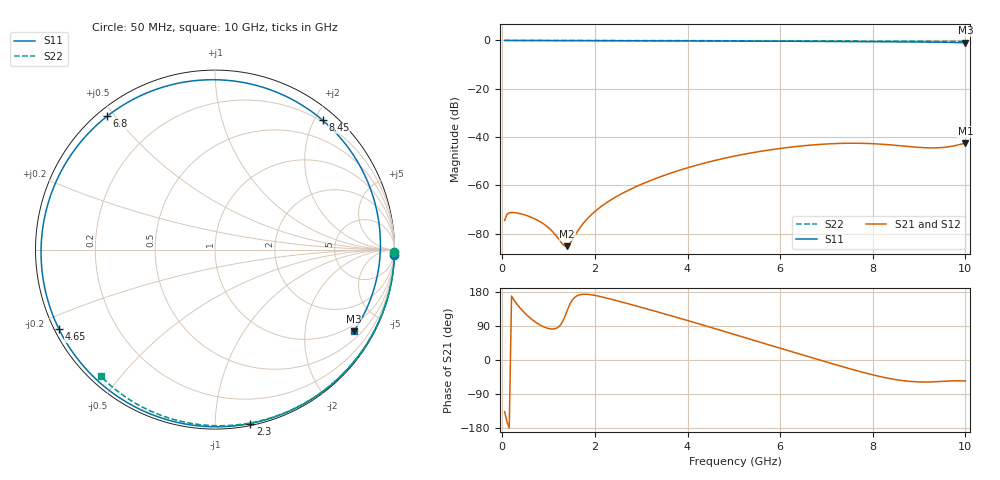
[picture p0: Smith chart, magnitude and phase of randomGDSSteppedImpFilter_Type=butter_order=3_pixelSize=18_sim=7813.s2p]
! freq	dB(S11)	phase(S11)	dB(S12)	phase(S12)
!  dB(S21)	phase(S21)	dB(S22)	phase(S22)
!S-par simulation data
#  GHz  S  DB  R 50
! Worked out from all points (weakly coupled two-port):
!   200 points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, 50 MHz to 10 GHz, reference 50 ohm
!   highest |S21| = -42.51 dB at 10 GHz (marker M1); lowest = -85.2 dB at 1.4 GHz (marker M2)
!   lowest |S11| = -0.9 dB at 10 GHz (marker M3), VSWR 18.38, Z = 37.8 - j176 ohm
!   |S11| at or under -10 dB: nowhere
!   |S22| runs from -0.4 to 0.0 dB; largest |S21 - S12| = 0
!   S11 on the Smith chart (normalised r, x): 50 MHz: 0, -65; 2.3 GHz: 0.01, -1.22; 4.65 GHz: 0.01, -0.24; 6.8 GHz: 0.03, +0.48; 8.45 GHz: 0.18, +2.12; 10 GHz: 0.76, -3.52
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0.05  -0.00 -1.8  -74.54 -136.5  -74.54 -136.5  -0.00 -0.8
0.15  -0.00 -5.3  -71.39 -179.1  -71.39 -179.1  -0.00 -2.3
0.35  -0.01 -12.4  -71.54 142.3  -71.54 142.3  -0.01 -5.3
0.8  -0.03 -28.1  -74.86 93.5  -74.86 93.5  -0.01 -12.1
1.15  -0.05 -40.1  -80.55 82.9  -80.55 82.9  -0.02 -17.4
1.4  -0.06 -48.6  -85.18 130.0  -85.18 130.0  -0.03 -21.1
1.6  -0.07 -55.4  -79.74 168.5  -79.74 168.5  -0.03 -24.1
1.75  -0.08 -60.4  -75.70 173.4  -75.70 173.4  -0.03 -26.3
2.3  -0.10 -78.5  -66.56 162.0  -66.56 162.0  -0.04 -34.3
3.4  -0.14 -113.6  -56.54 125.3  -56.54 125.3  -0.07 -50.0
4.65  -0.21 -153.1  -49.42 80.7  -49.42 80.7  -0.10 -67.1
5.05  -0.24 -166.2  -47.74 66.0  -47.74 66.0  -0.11 -72.4
5.9  -0.31 164.3  -44.97 34.7  -44.97 34.7  -0.14 -83.4
6.7  -0.38 133.2  -43.27 5.5  -43.27 5.5  -0.18 -93.4
6.8  -0.39 129.0  -43.12 1.9  -43.12 1.9  -0.19 -94.6
7.6  -0.47 93.0  -42.55 -26.4  -42.55 -26.4  -0.23 -104.3
8.35  -0.55 55.4  -43.19 -48.6  -43.19 -48.6  -0.29 -113.1
8.45  -0.56 50.2  -43.35 -50.8  -43.35 -50.8  -0.30 -114.3
8.85  -0.61 29.2  -44.06 -56.9  -44.06 -56.9  -0.33 -118.9
9.25  -0.68 8.2  -44.49 -57.9  -44.49 -57.9  -0.37 -123.5
9.6  -0.77 -10.0  -44.11 -55.7  -44.11 -55.7  -0.40 -127.6
10  -0.95 -30.5  -42.51 -55.3  -42.51 -55.3  -0.45 -132.1
